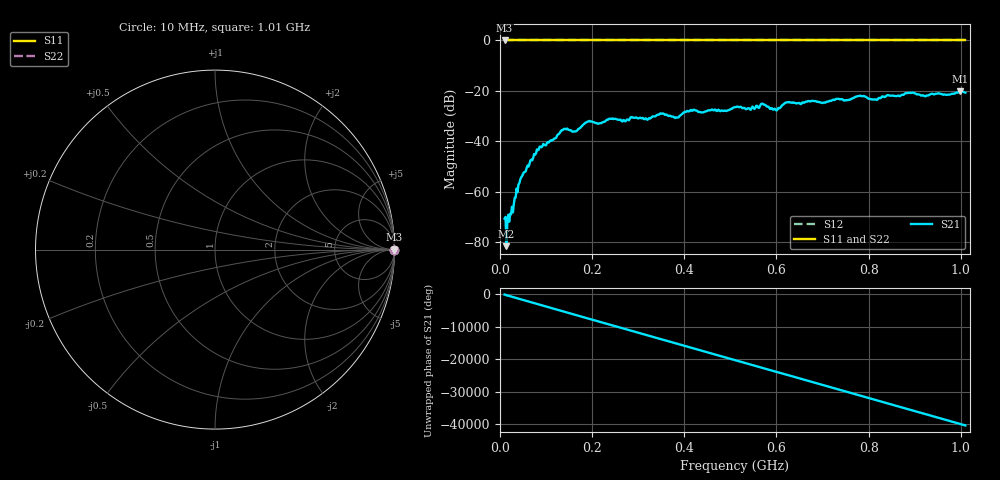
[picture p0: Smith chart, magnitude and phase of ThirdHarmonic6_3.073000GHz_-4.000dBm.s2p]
! 8/17/2025 8:59:14 AM
! C:\ANRITSUVNA\TEMP\TEMP.S2P
! CHANNEL.1
! TR.MEASUREMENT
! RAW.DATA
! RF.CORRECTION.OFF
! AVERAGING.OFF
! IF.BANDWIDTH: 5KHZ
! SWEEPTYPE:  FREQ.SWEEP(Linear)
! Reference Plane Port Info
! PORT:  PORT1  PORT2
! DISTANCE:  0  m  0  m
! TIME:  0  s  0  s
! PHASE.OFFSET:  0  deg.  0  deg.
! LOSS:  0  dB  0  dB
! REF.LOSS:  0  dB  0  dB
! REF.FREQ:  0  Hz  0  Hz
! Power Info
! POWER:  -20  dBm  -20  dBm
! EFF.POWER:  -20  dBm  -20  dBm
! SOURCE.ATTEN:  0  dB  0  dB
! TEST.ATTEN:  0  dB  0  dB
# GHZ S RI R 50.0
! FREQ.GHZ  S11RE  S11IM  S21RE  S21IM  S12RE  S12IM  S22RE  S22IM
!; PortSelection: Port_12
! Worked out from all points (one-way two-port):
!   501 points, 10 MHz to 1.01 GHz, reference 50 ohm
!   highest |S21| = -20.15 dB at 998 MHz (marker M1); lowest = -81.6 dB at 14 MHz (marker M2)
!   lowest |S11| = 0.0 dB at 10 MHz (marker M3)
!   |S11| at or under -10 dB: nowhere
!   |S22| runs from 0.0 to 0.0 dB; largest |S21 - S12| = 1.1
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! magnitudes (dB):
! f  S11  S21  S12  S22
! 10 MHz  0.0  -70.7  0.0  0.0
! 14 MHz  0.0  -81.6  0.0  0.0
! 18 MHz  0.0  -69.2  0.0  0.0
! 48 MHz  0.0  -53.8  0.0  0.0
! 84 MHz  0.0  -43.3  0.0  0.0
! 136 MHz  0.0  -35.6  0.0  0.0
! 162 MHz  0.0  -36.2  0.0  0.0
! 178 MHz  0.0  -33.9  0.0  0.0
! 194 MHz  0.0  -31.9  0.0  0.0
! 318 MHz  0.0  -31.2  0.0  0.0
! 344 MHz  0.0  -29.5  0.0  0.0
! 384 MHz  0.0  -30.6  0.0  0.0
! 410 MHz  0.0  -28.2  0.0  0.0
! 510 MHz  0.0  -26.5  0.0  0.0
! 540 MHz  0.0  -26.9  0.0  0.0
! 570 MHz  0.0  -25.1  0.0  0.0
! 598 MHz  0.0  -27.4  0.0  0.0
! 624 MHz  0.0  -24.5  0.0  0.0
! 678 MHz  0.0  -23.9  0.0  0.0
! 844 MHz  0.0  -21.8  0.0  0.0
! 998 MHz  0.0  -20.1  0.0  0.0
! 1.01 GHz  0.0  -20.7  0.0  0.0
